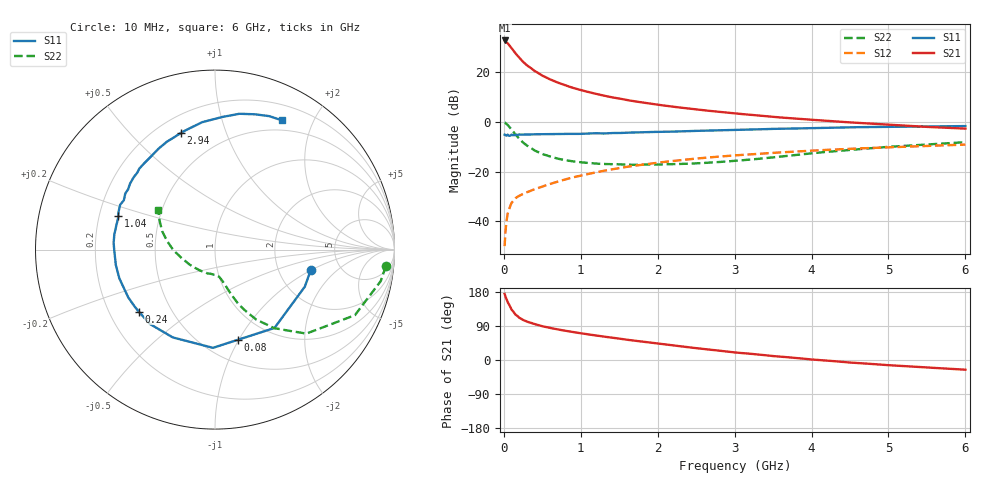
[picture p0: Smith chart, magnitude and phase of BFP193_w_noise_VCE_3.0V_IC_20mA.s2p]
! Infineon Technologies  Discrete & RF Semiconductors
! BFP193
! VCE = 3.0 V,  IC =  20 mA
! Common Emitter S-Parameters:  Jan 2016
# GHz  S  MA  R  50
!  f  S11  S21  S12  S22
! GHz  MAG  ANG  MAG  ANG  MAG  ANG  MAG  ANG
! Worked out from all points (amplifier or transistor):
!   210 points, 10 MHz to 6 GHz, reference 50 ohm
!   highest |S21| = 32.5 dB at 10 MHz (marker M1)
!   |S21| within 3 dB of that: start of sweep to 99.33 MHz
!   unconditionally stable (mu >= 1): 778.6 MHz to 3.828 GHz
!   at 185 MHz: K = 0.49, MSG = 28.1 dB, |S12| = -30.0 dB
!   at 1.52 GHz: K = 1.07, MAG = 12.2 dB, |S12| = -18.5 dB
!   at 6 GHz: K = 0.92, MSG = 3.2 dB, |S12| = -9.2 dB
!   lowest NFmin = 1.40 dB at 450 MHz
!   S11 on the Smith chart (normalised r, x): 10 MHz: 3.06, -0.98; 80 MHz: 0.72, -0.99; 240 MHz: 0.33, -0.32; 1.04 GHz: 0.28, +0.16; 2.94 GHz: 0.29, +0.70; 6 GHz: 0.38, +1.58
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0.01  0.5457 -11.9  42.03 174.4  0.0032 86.2  0.9558 -5.5
0.02  0.5415 -22.4  40.65 167.6  0.0059 79.3  0.9404 -10.7
0.05  0.5482 -52.8  37.14 152.3  0.0144 70.1  0.861 -25.1
0.08  0.5185 -76.0  32.21 141.8  0.0198 61.4  0.7505 -34.7
0.1  0.5474 -91.2  29.68 133.0  0.0235 57.9  0.6914 -42.6
0.15  0.5429 -115.7  23.29 120.1  0.0291 51.6  0.5495 -52.9
0.2  0.5509 -131.3  18.94 111.7  0.0327 50.1  0.4525 -59.5
0.24  0.5475 -140.9  16.31 106.9  0.035 49.3  0.3938 -62.7
0.3  0.5518 -151.2  13.37 101.0  0.0384 50.4  0.3316 -66.7
0.4  0.5566 -163.3  10.32 94.5  0.0441 52.0  0.2638 -70.2
0.5  0.5591 -171.2  8.317 89.1  0.0498 53.5  0.2241 -72.5
0.6  0.5604 -178.2  6.995 84.6  0.0563 55.2  0.1987 -74.6
0.7  0.566 176.2  6.038 80.5  0.0626 56.2  0.1808 -76.5
1.02  0.5688 161.6  4.188 69.9  0.0841 56.9  0.152 -82.3
1.04  0.5708 160.8  4.113 69.4  0.0854 56.9  0.151 -82.8
1.4  0.5895 148.0  3.066 59.1  0.1097 55.5  0.1405 -91.7
2.02  0.6214 129.8  2.154 43.0  0.1515 49.9  0.1381 -112.0
2.94  0.6764 106.5  1.49 21.5  0.2067 39.9  0.1607 -147.0
3.1  0.6859 103.3  1.411 18.3  0.2152 38.0  0.168 -152.8
4.1  0.7444 85.5  1.06 -0.1  0.2665 26.8  0.2397 178.1
5.1  0.7889 72.3  0.85 -14.8  0.3092 16.0  0.3185 159.0
6  0.8113 62.5  0.722 -25.7  0.3456 6.4  0.3859 145.0
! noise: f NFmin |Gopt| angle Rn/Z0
0.45  1.4  0.3  160  0.1
0.9  1.45  0.34  172  0.11
1.8  2.2  0.56  -148  0.2
